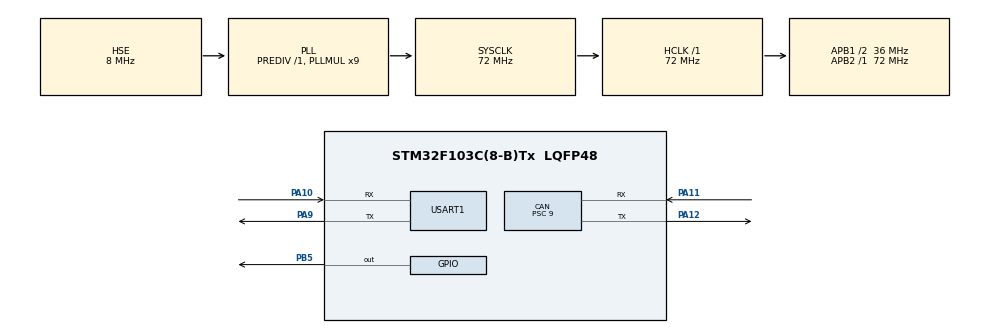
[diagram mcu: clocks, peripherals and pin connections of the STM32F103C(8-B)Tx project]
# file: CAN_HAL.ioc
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CAN.BS1=CAN_BS1_3TQ
CAN.BS2=CAN_BS2_4TQ
CAN.CalculateBaudRate=500000
CAN.CalculateTimeBit=2000
CAN.CalculateTimeQuantum=250.0
CAN.Prescaler=9
Mcu.Family=STM32F1
Mcu.Name=STM32F103C(8-B)Tx
Mcu.Package=LQFP48
NVIC.PriorityGroup=NVIC_PRIORITYGROUP_4
PA10.Mode=Asynchronous
PA10.Signal=USART1_RX
PA11.Mode=CAN_Activate
PA11.Signal=CAN_RX
PA12.Mode=CAN_Activate
PA12.Signal=CAN_TX
PA13.Mode=Serial_Wire
PA13.Signal=SYS_JTMS-SWDIO
PA14.Mode=Serial_Wire
PA14.Signal=SYS_JTCK-SWCLK
PA9.Mode=Asynchronous
PA9.Signal=USART1_TX
PB5.Signal=GPIO_Output
PD0-OSC_IN.Mode=HSE-External-Oscillator
PD0-OSC_IN.Signal=RCC_OSC_IN
PD1-OSC_OUT.Mode=HSE-External-Oscillator
PD1-OSC_OUT.Signal=RCC_OSC_OUT
ProjectManager.HeapSize=0x200
ProjectManager.StackSize=0x400
ProjectManager.TargetToolchain=MDK-ARM V4
RCC.AHBFreq_Value=72000000
RCC.APB1CLKDivider=RCC_HCLK_DIV2
RCC.APB1Freq_Value=36000000
RCC.APB1TimFreq_Value=72000000
RCC.APB2Freq_Value=72000000
RCC.APB2TimFreq_Value=72000000
RCC.HCLKFreq_Value=72000000
RCC.PLLMUL=RCC_PLL_MUL9
RCC.PLLSourceVirtual=RCC_PLLSOURCE_HSE
RCC.SYSCLKFreq_VALUE=72000000
RCC.SYSCLKSource=RCC_SYSCLKSOURCE_PLLCLK
RCC.USBFreq_Value=72000000
USART1.VirtualMode=VM_ASYNC
board=custom

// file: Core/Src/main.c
/* USER CODE BEGIN Header */
/* USER CODE END Header */
#include "main.h"
#include <string.h>
#include <time.h>
#include <stdlib.h>

/* USER CODE BEGIN PTD */
// �?nh nghia struct VehicleStatus
typedef struct {
    uint8_t engine_status;
    uint8_t light_status;
    uint8_t tire_pressure;
    uint8_t door_status;
    uint8_t seat_belt_status;
    uint8_t battery_level;
    uint8_t speed;
    uint8_t arrived_distance;
    uint8_t remain_distance;
    uint8_t avg_speed;
    uint8_t transmission_gear;
    uint8_t reserved1;
    uint8_t reserved2;
    float gps_lat;
    float gps_lon;
} __attribute__((packed)) VehicleStatus;
/* USER CODE END PTD */

/* USER CODE BEGIN PD */
#define VEHICLE_STATUS_CAN_ID 0x023
#define PACKET_HEADER_ID 0x024
#define PACKET_DATA_ID 0x025
/* USER CODE END PD */

CAN_HandleTypeDef hcan;

UART_HandleTypeDef huart1;

/* USER CODE BEGIN PV */
VehicleStatus vehicle_data;
uint8_t air_condition_temp = 0;
/* USER CODE END PV */

void SystemClock_Config(void);
static void MX_GPIO_Init(void);
static void MX_CAN_Init(void);
static void MX_USART1_UART_Init(void);
/* USER CODE BEGIN PFP */
void SendVehicleStatus(void);
void InitVehicleData(void);
/* USER CODE END PFP */

/* USER CODE BEGIN 0 */
CAN_TxHeaderTypeDef TxMsg;
CAN_RxHeaderTypeDef RxHeader;
uint8_t RxData[8];
uint32_t pu32Mailbox;

volatile uint32_t can_status = 0;

// Kh?i t?o d? li?u m?u
void InitVehicleData(void) {
    vehicle_data.engine_status = 1;        // Engine ON
    vehicle_data.light_status = 0;         // Light OFF
    vehicle_data.tire_pressure = 1;       // Tire Pressure Enough
    vehicle_data.door_status = 0;          // All doors closed
    vehicle_data.seat_belt_status = 1;     // Seat belt fastened
    vehicle_data.battery_level = 85;       // 85%
    vehicle_data.speed = 60;               // 60 km/h
    vehicle_data.arrived_distance = 25;    // 25 km
    vehicle_data.remain_distance = 150;    // 150 km
    vehicle_data.avg_speed = 55;           // 55 km/h
    vehicle_data.transmission_gear = 4;    // Gear 4
    vehicle_data.reserved1 = 0;
    vehicle_data.reserved2 = 0;
    vehicle_data.gps_lat = 21.0285f;       // Hanoi latitude
    vehicle_data.gps_lon = 105.8542f;      // Hanoi longitude
}

void RandomVehicleData(void) {

    vehicle_data.engine_status = rand() % 2;

    vehicle_data.light_status = rand() % 4;

    vehicle_data.tire_pressure = rand() % 3;

    vehicle_data.door_status = rand() % 2;

    vehicle_data.seat_belt_status = rand() % 2;

    vehicle_data.battery_level = rand() % 101;

    vehicle_data.speed = rand() % 121;

    vehicle_data.arrived_distance = rand() % 501;

    vehicle_data.remain_distance = rand() % 1001;

    vehicle_data.avg_speed = 20 + (rand() % 81);

    vehicle_data.transmission_gear = 1 + (rand() % 6);

    vehicle_data.gps_lat = 20.9f + ((float)(rand() % 201) / 1000.0f);

    vehicle_data.gps_lon = 105.7f + ((float)(rand() % 201) / 1000.0f);
}

uint8_t *data_ptr;
uint32_t data_size;
uint8_t frame_count;
// H�m g?i struct qua CAN (chia nh? th�nh nhi?u frame)
void SendVehicleStatus(void) {
    data_ptr = (uint8_t*)&vehicle_data;
    data_size = sizeof(VehicleStatus);
    frame_count = (data_size + 6) / 7;  // Changed from (data_size + 7) / 8

    // Send header with frame information
    TxMsg.StdId = PACKET_HEADER_ID;
    TxMsg.DLC = 8;
    uint8_t header_data[8] = {0};
    header_data[0] = frame_count;
    header_data[1] = data_size & 0xFF;
    header_data[2] = (data_size >> 8) & 0xFF;
    header_data[3] = 0x01; // Message type: VehicleStatus

    HAL_CAN_AddTxMessage(&hcan, &TxMsg, header_data, &pu32Mailbox);
    HAL_Delay(10);

    // Send data frame by frame (7 bytes each)
    TxMsg.StdId = PACKET_DATA_ID;
    for (uint8_t i = 0; i < frame_count; i++) {
        uint8_t can_data[8] = {0};
        uint8_t bytes_to_send = (i == frame_count - 1) ?
            (data_size - i * 7) : 7;  // Always 7 bytes except last frame

        can_data[0] = i; // Frame number
        memcpy(&can_data[1], data_ptr + i * 7, bytes_to_send);

        TxMsg.DLC = bytes_to_send + 1;  // +1 for frame number
        HAL_CAN_AddTxMessage(&hcan, &TxMsg, can_data, &pu32Mailbox);
        HAL_Delay(10);
    }
}

// void HAL_CAN_RxFifo0MsgPendingCallback(CAN_HandleTypeDef *hcan)
// {
//     HAL_CAN_GetRxMessage(hcan, CAN_RX_FIFO0, &RxHeader, RxData);

//     // Kiểm tra CAN ID của air condition
//     if (RxHeader.StdId == 0x030 && RxHeader.DLC >= 1) {
//         air_condition_temp = RxData[0];
//     }
// }
/* USER CODE END 0 */

int main(void)
{

  /* MCU Configuration--------------------------------------------------------*/

  /* Reset of all peripherals, Initializes the Flash interface and the Systick. */
  HAL_Init();

  /* Configure the system clock */
  SystemClock_Config();

  /* Initialize all configured peripherals */
  MX_GPIO_Init();
  MX_CAN_Init();
  MX_USART1_UART_Init();

  /* USER CODE BEGIN 2 */
  TxMsg.DLC = 8;
  TxMsg.IDE = CAN_ID_STD;
  TxMsg.RTR = CAN_RTR_DATA;
  TxMsg.TransmitGlobalTime = DISABLE;

  // Cấu hình CAN filter để nhận message air condition
  CAN_FilterTypeDef canfilterconfig;

  // Gộp filter cho các ID 0x024, 0x025, 0x030 bằng cách dùng ID mask
  canfilterconfig.FilterActivation = CAN_FILTER_ENABLE;
  canfilterconfig.FilterBank = 0;
  canfilterconfig.FilterFIFOAssignment = CAN_RX_FIFO0;
  canfilterconfig.FilterIdHigh = 0x000 << 5;
  canfilterconfig.FilterIdLow = 0x0000;
  canfilterconfig.FilterMaskIdHigh = 0x000 << 5;
  canfilterconfig.FilterMaskIdLow = 0x0000;
  canfilterconfig.FilterMode = CAN_FILTERMODE_IDMASK;
  canfilterconfig.FilterScale = CAN_FILTERSCALE_32BIT;

  HAL_CAN_ConfigFilter(&hcan, &canfilterconfig);

  HAL_CAN_Start(&hcan); // start CAN
  InitVehicleData();
  srand(HAL_GetTick());
  /* USER CODE END 2 */

  /* Infinite loop */
  /* USER CODE BEGIN WHILE */
  while (1)
  {
    // Gửi struct qua CAN
    RandomVehicleData();
    SendVehicleStatus();

    // Polling CAN RX FIFO0
    if (HAL_CAN_GetRxFifoFillLevel(&hcan, CAN_RX_FIFO0) > 0) {
        CAN_RxHeaderTypeDef RxHeader;
        uint8_t RxData[8];
        if (HAL_CAN_GetRxMessage(&hcan, CAN_RX_FIFO0, &RxHeader, RxData) == HAL_OK) {
            if (RxHeader.StdId == 0x030 && RxHeader.DLC >= 1) {
                air_condition_temp = RxData[0];
            }
        }
    }

    HAL_GPIO_TogglePin(GPIOB, GPIO_PIN_5);
    HAL_Delay(1000);
    /* USER CODE END WHILE */

  }
}

void SystemClock_Config(void)
{
  RCC_OscInitTypeDef RCC_OscInitStruct = {0};
  RCC_ClkInitTypeDef RCC_ClkInitStruct = {0};

  /** Initializes the RCC Oscillators according to the specified parameters
  * in the RCC_OscInitStruct structure.
  */
  RCC_OscInitStruct.OscillatorType = RCC_OSCILLATORTYPE_HSE;
  RCC_OscInitStruct.HSEState = RCC_HSE_ON;
  RCC_OscInitStruct.HSEPredivValue = RCC_HSE_PREDIV_DIV1;
  RCC_OscInitStruct.HSIState = RCC_HSI_ON;
  RCC_OscInitStruct.PLL.PLLState = RCC_PLL_ON;
  RCC_OscInitStruct.PLL.PLLSource = RCC_PLLSOURCE_HSE;
  RCC_OscInitStruct.PLL.PLLMUL = RCC_PLL_MUL9;
  if (HAL_RCC_OscConfig(&RCC_OscInitStruct) != HAL_OK)
  {
    Error_Handler();
  }

  /** Initializes the CPU, AHB and APB buses clocks
  */
  RCC_ClkInitStruct.ClockType = RCC_CLOCKTYPE_HCLK|RCC_CLOCKTYPE_SYSCLK
                              |RCC_CLOCKTYPE_PCLK1|RCC_CLOCKTYPE_PCLK2;
  RCC_ClkInitStruct.SYSCLKSource = RCC_SYSCLKSOURCE_PLLCLK;
  RCC_ClkInitStruct.AHBCLKDivider = RCC_SYSCLK_DIV1;
  RCC_ClkInitStruct.APB1CLKDivider = RCC_HCLK_DIV2;
  RCC_ClkInitStruct.APB2CLKDivider = RCC_HCLK_DIV1;

  if (HAL_RCC_ClockConfig(&RCC_ClkInitStruct, FLASH_LATENCY_2) != HAL_OK)
  {
    Error_Handler();
  }
}

static void MX_CAN_Init(void)
{

  hcan.Instance = CAN1;
  hcan.Init.Prescaler = 9;
  hcan.Init.Mode = CAN_MODE_NORMAL;
  hcan.Init.SyncJumpWidth = CAN_SJW_1TQ;
  hcan.Init.TimeSeg1 = CAN_BS1_3TQ;
  hcan.Init.TimeSeg2 = CAN_BS2_4TQ;
  hcan.Init.TimeTriggeredMode = DISABLE;
  hcan.Init.AutoBusOff = DISABLE;
  hcan.Init.AutoWakeUp = DISABLE;
  hcan.Init.AutoRetransmission = DISABLE;
  hcan.Init.ReceiveFifoLocked = DISABLE;
  hcan.Init.TransmitFifoPriority = DISABLE;
  if (HAL_CAN_Init(&hcan) != HAL_OK)
  {
    Error_Handler();
  }

}

static void MX_USART1_UART_Init(void)
{

  huart1.Instance = USART1;
  huart1.Init.BaudRate = 115200;
  huart1.Init.WordLength = UART_WORDLENGTH_8B;
  huart1.Init.StopBits = UART_STOPBITS_1;
  huart1.Init.Parity = UART_PARITY_NONE;
  huart1.Init.Mode = UART_MODE_TX_RX;
  huart1.Init.HwFlowCtl = UART_HWCONTROL_NONE;
  huart1.Init.OverSampling = UART_OVERSAMPLING_16;
  if (HAL_UART_Init(&huart1) != HAL_OK)
  {
    Error_Handler();
  }

}

static void MX_GPIO_Init(void)
{
  GPIO_InitTypeDef GPIO_InitStruct = {0};

  /* GPIO Ports Clock Enable */
  __HAL_RCC_GPIOD_CLK_ENABLE();
  __HAL_RCC_GPIOA_CLK_ENABLE();
  __HAL_RCC_GPIOB_CLK_ENABLE();

  /*Configure GPIO pin Output Level */
  HAL_GPIO_WritePin(GPIOB, GPIO_PIN_5, GPIO_PIN_RESET);

  /*Configure GPIO pin : PB5 */
  GPIO_InitStruct.Pin = GPIO_PIN_5;
  GPIO_InitStruct.Mode = GPIO_MODE_OUTPUT_PP;
  GPIO_InitStruct.Pull = GPIO_NOPULL;
  GPIO_InitStruct.Speed = GPIO_SPEED_FREQ_LOW;
  HAL_GPIO_Init(GPIOB, &GPIO_InitStruct);

}

void Error_Handler(void)
{
}
